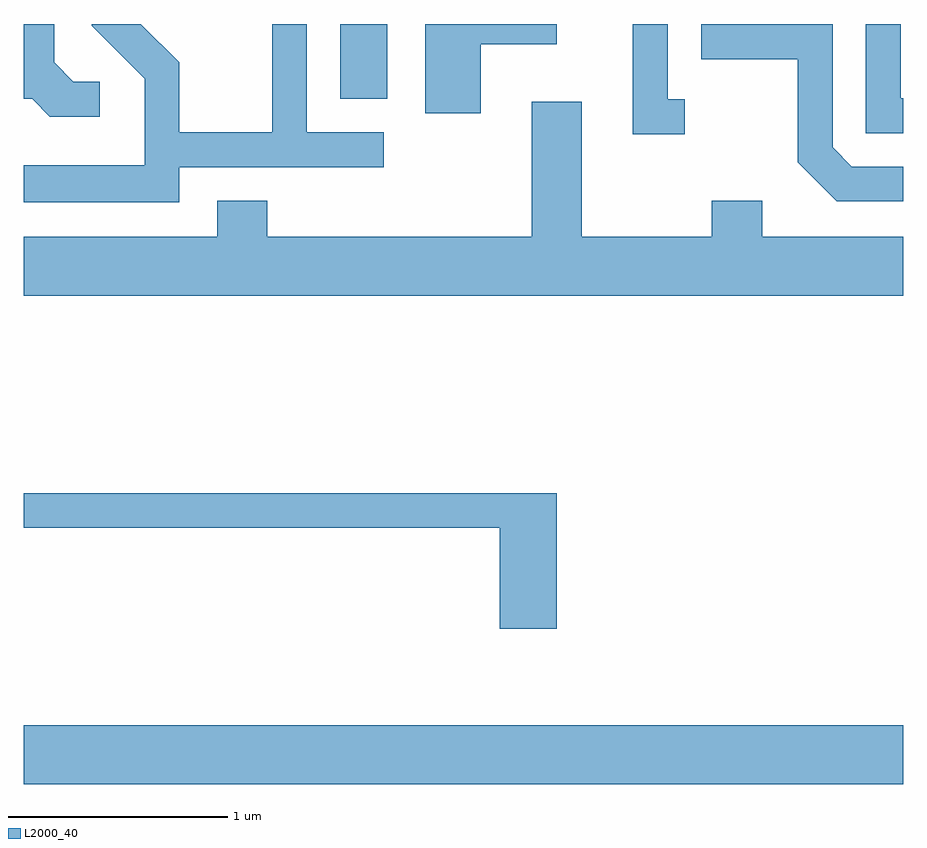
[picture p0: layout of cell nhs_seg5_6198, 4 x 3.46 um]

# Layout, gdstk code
import gdstk
lib = gdstk.Library(unit=1e-6, precision=1e-09)
def R(c, l, rs):  # rectangles x0, y0, x1, y1
    for r in rs: c.add(gdstk.rectangle(r[:2], r[2:], *l))
def P(c, l, *ps):  # polygons
    for p in ps: c.add(gdstk.Polygon(p, *l))
L2000_40 = (2000, 40)

nhs_seg5_6198 = lib.new_cell('nhs_seg5_6198')
R(nhs_seg5_6198, L2000_40, [(369.611,1414.616,373.611,1414.884), (371.051,1417.731,371.264,1418.072)])
P(nhs_seg5_6198, L2000_40, [(373.611,1417.424),(373.377,1417.424),(373.289,1417.512),(373.289,1418.072),(372.691,1418.072),(372.691,1417.911),(373.131,1417.911),(373.131,1417.444),(373.309,1417.266),(373.611,1417.266)],
  [(373.611,1417.734),(373.599,1417.734),(373.599,1418.072),(373.441,1418.072),(373.441,1417.576),(373.611,1417.576)],
  [(372.618,1417.729),(372.539,1417.729),(372.539,1418.072),(372.381,1418.072),(372.381,1417.571),(372.618,1417.571)],
  [(370.319,1417.421),(371.248,1417.421),(371.248,1417.579),(370.899,1417.579),(370.899,1418.072),(370.741,1418.072),(370.741,1417.579),(370.319,1417.579),(370.319,1417.897),(370.144,1418.072),(369.921,1418.072),(369.921,1418.064),(370.161,1417.824),(370.161,1417.429),(369.611,1417.429),(369.611,1417.261),(370.319,1417.261)],
  [(371.689,1417.981),(372.034,1417.981),(372.034,1418.072),(371.436,1418.072),(371.436,1417.666),(371.689,1417.666)],
  [(369.958,1417.809),(369.837,1417.809),(369.749,1417.897),(369.749,1418.072),(369.611,1418.072),(369.611,1417.731),(369.649,1417.731),(369.729,1417.651),(369.958,1417.651)],
  [(373.611,1417.104),(372.969,1417.104),(372.969,1417.269),(372.741,1417.269),(372.741,1417.104),(372.149,1417.104),(372.149,1417.719),(371.921,1417.719),(371.921,1417.104),(370.719,1417.104),(370.719,1417.269),(370.491,1417.269),(370.491,1417.104),(369.611,1417.104),(369.611,1416.836),(373.611,1416.836)],
  [(372.034,1415.939),(369.611,1415.939),(369.611,1415.781),(371.776,1415.781),(371.776,1415.321),(372.034,1415.321)])

lib.write_gds('nhs_seg5_6198.gds')
